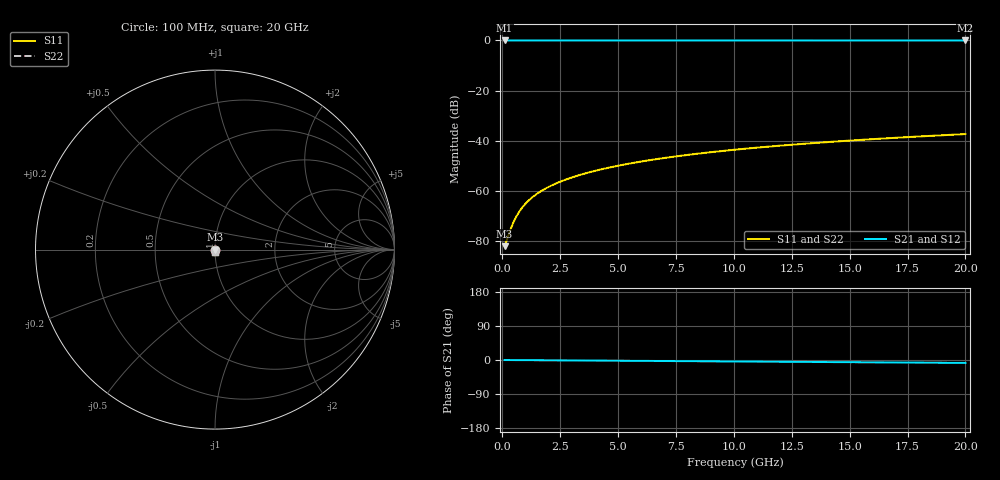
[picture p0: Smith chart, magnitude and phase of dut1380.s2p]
! Touchstone file exported from HFSS 2026.1.0
!  File:  C:/ffzhzh/LocalFiles/Ansys_Project_Files/temp_train_TSV_1380_1783196406_22436.aedt
!  Generated:  04:21:32 AM Jul  5, 2026
!  Design:  TSV
!  Project:  temp_train_TSV_1380_1783196406_22436
! Variables:
!  h_bsmrdl = 2um
!  h_ox = 20um
!  h_rdl = 5um
!  h_sub = 75.33um
!  h_tmrdl = 5um
!  h_tsv = 75.33um
!  h_via = 3um
!  l_bsmrdl = 300um
!  l_sub = 428.84um
!  l_tmrdl = 200um
!  m_sub = 200um
!  pitch = 51.96um
!  r_tsv = 14.42um
!  s_tmrdl = 10um
!  w_bsmrdl = 18um
!  w_sub = 500um
!  w_tmrdl = 12um
!  x_tsv_center1 = 206um
!  x_tsv_center2 = 524um
!  x_tsv_center3 = 736um
!  x_tsv_center4 = 1054um
!  x_tsv_center5 = 1266um
!  x_tsv_center6 = 1584um
# GHz S MA R 50.000000
! Terminal data exported
! Port[1] = TSV1_1_T1
! Port[2] = TSV1_1_T2
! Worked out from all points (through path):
!   200 points, 100 MHz to 20 GHz, reference 50 ohm
!   highest |S21| = 0.00 dB at 100 MHz (marker M1); lowest = 0.0 dB at 20 GHz (marker M2)
!   group delay of S21, straight-line fit = 1.07 ps
!   lowest |S11| = -82.2 dB at 100 MHz (marker M3), VSWR 1.00, Z = 50 - j0.00281 ohm
!   |S11| at or under -10 dB: start of sweep to end of sweep
!   |S22| runs from -82.2 to -37.4 dB; largest |S21 - S12| = 3.4e-15
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0.1  7.776e-05 -21.2  0.9999 -0.0  0.9999 -0.0  7.776e-05 -21.2
! Gamma 0 0 0 0
! Port Impedance 50 0 50 0
0.2  0.0001043 -35.0  0.9999 -0.1  0.9999 -0.1  0.0001043 -35.0
0.3  0.0001426 -43.1  0.9999 -0.1  0.9999 -0.1  0.0001426 -43.1
0.4  0.0001894 -48.5  0.9999 -0.2  0.9999 -0.2  0.0001894 -48.5
0.5  0.0002424 -52.5  0.9999 -0.2  0.9999 -0.2  0.0002424 -52.5
0.6  0.0002995 -55.8  0.9998 -0.2  0.9998 -0.2  0.0002995 -55.8
0.7  0.0003594 -58.6  0.9998 -0.3  0.9998 -0.3  0.0003594 -58.6
0.8  0.0004211 -61.1  0.9998 -0.3  0.9998 -0.3  0.0004211 -61.1
1  0.0005472 -65.1  0.9998 -0.4  0.9998 -0.4  0.0005472 -65.1
1.3  0.0007389 -69.4  0.9997 -0.5  0.9997 -0.5  0.0007389 -69.4
1.7  0.0009952 -73.3  0.9997 -0.7  0.9997 -0.7  0.0009952 -73.3
2.2  0.001316 -76.4  0.9997 -0.9  0.9997 -0.9  0.001316 -76.4
2.8  0.001702 -78.8  0.9996 -1.1  0.9996 -1.1  0.001702 -78.8
3.5  0.002156 -80.7  0.9996 -1.4  0.9996 -1.4  0.002156 -80.7
4.2  0.002616 -82.0  0.9996 -1.6  0.9996 -1.6  0.002616 -82.0
5  0.003147 -83.2  0.9995 -1.9  0.9995 -1.9  0.003147 -83.2
6.8  0.004358 -85.2  0.9994 -2.6  0.9994 -2.6  0.004359 -85.2
8.3  0.00538 -86.6  0.9994 -3.2  0.9994 -3.2  0.00538 -86.6
10.1  0.006613 -88.0  0.9993 -3.9  0.9993 -3.9  0.006613 -88.0
13.4  0.008887 -90.1  0.9992 -5.2  0.9992 -5.2  0.008887 -90.1
16.7  0.01118 -92.0  0.9991 -6.4  0.9991 -6.4  0.01118 -91.9
20  0.01348 -93.6  0.9989 -7.7  0.9989 -7.7  0.01348 -93.6
